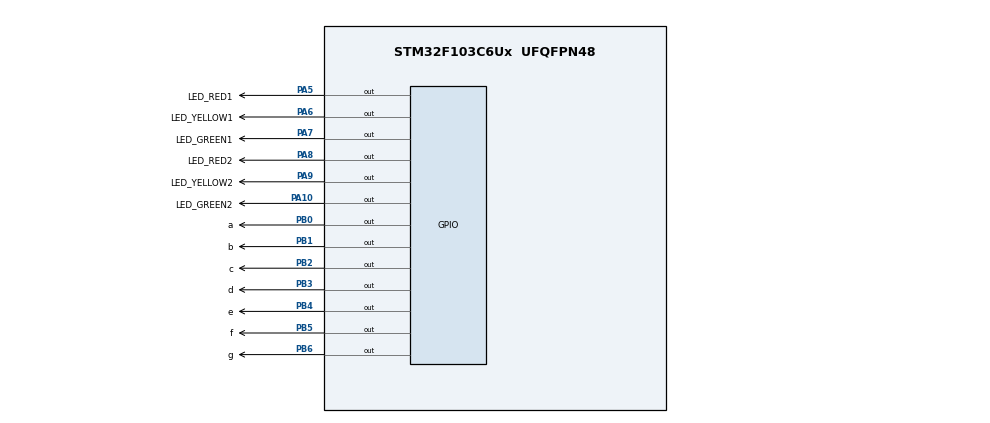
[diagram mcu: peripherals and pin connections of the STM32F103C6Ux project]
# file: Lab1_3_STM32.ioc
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Mcu.Family=STM32F1
Mcu.Name=STM32F103C6Ux
Mcu.Package=UFQFPN48
NVIC.PriorityGroup=NVIC_PRIORITYGROUP_4
PA10.GPIO_Label=LED_GREEN2
PA10.Signal=GPIO_Output
PA5.GPIO_Label=LED_RED1
PA5.Signal=GPIO_Output
PA6.GPIO_Label=LED_YELLOW1
PA6.Signal=GPIO_Output
PA7.GPIO_Label=LED_GREEN1
PA7.Signal=GPIO_Output
PA8.GPIO_Label=LED_RED2
PA8.Signal=GPIO_Output
PA9.GPIO_Label=LED_YELLOW2
PA9.Signal=GPIO_Output
PB0.GPIO_Label=a
PB0.Signal=GPIO_Output
PB1.GPIO_Label=b
PB1.Signal=GPIO_Output
PB2.GPIO_Label=c
PB2.Signal=GPIO_Output
PB3.GPIO_Label=d
PB3.Signal=GPIO_Output
PB4.GPIO_Label=e
PB4.Signal=GPIO_Output
PB5.GPIO_Label=f
PB5.Signal=GPIO_Output
PB6.GPIO_Label=g
PB6.Signal=GPIO_Output
ProjectManager.HeapSize=0x200
ProjectManager.StackSize=0x400
ProjectManager.TargetToolchain=STM32CubeIDE
RCC.APB1Freq_Value=8000000
RCC.APB2Freq_Value=8000000
VP_SYS_VS_ND.Mode=No_Debug
board=custom

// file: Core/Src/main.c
/* USER CODE BEGIN Header */
// This exercise include 3, 4, 5
/**
  ******************************************************************************
  * @file           : main.c
  * @brief          : Main program body
  ******************************************************************************
  * @attention
  *
  * <h2><center>&copy; Copyright (c) 2023 STMicroelectronics.
  * All rights reserved.</center></h2>
  *
  * This software component is licensed by ST under BSD 3-Clause license,
  * the "License"; You may not use this file except in compliance with the
  * License. You may obtain a copy of the License at:
  *                        opensource.org/licenses/BSD-3-Clause
  *
  ******************************************************************************
  */
/* USER CODE END Header */
#include "main.h"

void SystemClock_Config(void);
static void MX_GPIO_Init(void);

/* USER CODE BEGIN 0 */

void display7SEG(int *num)
{
	if(*num == 0)
	{
		HAL_GPIO_WritePin(a_GPIO_Port, a_Pin, RESET);
		HAL_GPIO_WritePin(b_GPIO_Port, b_Pin, RESET);
		HAL_GPIO_WritePin(c_GPIO_Port, c_Pin, RESET);
		HAL_GPIO_WritePin(d_GPIO_Port, d_Pin, RESET);
		HAL_GPIO_WritePin(e_GPIO_Port, e_Pin, RESET);
		HAL_GPIO_WritePin(f_GPIO_Port, f_Pin, RESET);
		HAL_GPIO_WritePin(g_GPIO_Port, g_Pin, SET);
	}
	else if(*num == 1)
	{
		HAL_GPIO_WritePin(a_GPIO_Port, a_Pin, SET);
		HAL_GPIO_WritePin(b_GPIO_Port, b_Pin, RESET);
		HAL_GPIO_WritePin(c_GPIO_Port, c_Pin, RESET);
		HAL_GPIO_WritePin(d_GPIO_Port, d_Pin, SET);
		HAL_GPIO_WritePin(e_GPIO_Port, e_Pin, SET);
		HAL_GPIO_WritePin(f_GPIO_Port, f_Pin, SET);
		HAL_GPIO_WritePin(g_GPIO_Port, g_Pin, SET);
	}
	else if(*num == 2)
	{
		HAL_GPIO_WritePin(a_GPIO_Port, a_Pin, RESET);
		HAL_GPIO_WritePin(b_GPIO_Port, b_Pin, RESET);
		HAL_GPIO_WritePin(c_GPIO_Port, c_Pin, SET);
		HAL_GPIO_WritePin(d_GPIO_Port, d_Pin, RESET);
		HAL_GPIO_WritePin(e_GPIO_Port, e_Pin, RESET);
		HAL_GPIO_WritePin(f_GPIO_Port, f_Pin, SET);
		HAL_GPIO_WritePin(g_GPIO_Port, g_Pin, RESET);
	}
	else if(*num == 3)
	{
		HAL_GPIO_WritePin(a_GPIO_Port, a_Pin, RESET);
		HAL_GPIO_WritePin(b_GPIO_Port, b_Pin, RESET);
		HAL_GPIO_WritePin(c_GPIO_Port, c_Pin, RESET);
		HAL_GPIO_WritePin(d_GPIO_Port, d_Pin, RESET);
		HAL_GPIO_WritePin(e_GPIO_Port, e_Pin, SET);
		HAL_GPIO_WritePin(f_GPIO_Port, f_Pin, SET);
		HAL_GPIO_WritePin(g_GPIO_Port, g_Pin, RESET);
	}
	else if(*num == 4)
	{
		HAL_GPIO_WritePin(a_GPIO_Port, a_Pin, SET);
		HAL_GPIO_WritePin(b_GPIO_Port, b_Pin, RESET);
		HAL_GPIO_WritePin(c_GPIO_Port, c_Pin, RESET);
		HAL_GPIO_WritePin(d_GPIO_Port, d_Pin, SET);
		HAL_GPIO_WritePin(e_GPIO_Port, e_Pin, SET);
		HAL_GPIO_WritePin(f_GPIO_Port, f_Pin, RESET);
		HAL_GPIO_WritePin(g_GPIO_Port, g_Pin, RESET);
	}
	else if(*num == 5)
	{
		HAL_GPIO_WritePin(a_GPIO_Port, a_Pin, RESET);
		HAL_GPIO_WritePin(b_GPIO_Port, b_Pin, SET);
		HAL_GPIO_WritePin(c_GPIO_Port, c_Pin, RESET);
		HAL_GPIO_WritePin(d_GPIO_Port, d_Pin, RESET);
		HAL_GPIO_WritePin(e_GPIO_Port, e_Pin, SET);
		HAL_GPIO_WritePin(f_GPIO_Port, f_Pin, RESET);
		HAL_GPIO_WritePin(g_GPIO_Port, g_Pin, RESET);
	}
	else if(*num == 6)
	{
		HAL_GPIO_WritePin(a_GPIO_Port, a_Pin, RESET);
		HAL_GPIO_WritePin(b_GPIO_Port, b_Pin, SET);
		HAL_GPIO_WritePin(c_GPIO_Port, c_Pin, RESET);
		HAL_GPIO_WritePin(d_GPIO_Port, d_Pin, RESET);
		HAL_GPIO_WritePin(e_GPIO_Port, e_Pin, RESET);
		HAL_GPIO_WritePin(f_GPIO_Port, f_Pin, RESET);
		HAL_GPIO_WritePin(g_GPIO_Port, g_Pin, RESET);
	}
	else if(*num == 7)
	{
		HAL_GPIO_WritePin(a_GPIO_Port, a_Pin, RESET);
		HAL_GPIO_WritePin(b_GPIO_Port, b_Pin, RESET);
		HAL_GPIO_WritePin(c_GPIO_Port, c_Pin, RESET);
		HAL_GPIO_WritePin(d_GPIO_Port, d_Pin, SET);
		HAL_GPIO_WritePin(e_GPIO_Port, e_Pin, SET);
		HAL_GPIO_WritePin(f_GPIO_Port, f_Pin, SET);
		HAL_GPIO_WritePin(g_GPIO_Port, g_Pin, SET);
	}
	else if(*num == 8)
	{
		HAL_GPIO_WritePin(a_GPIO_Port, a_Pin, RESET);
		HAL_GPIO_WritePin(b_GPIO_Port, b_Pin, RESET);
		HAL_GPIO_WritePin(c_GPIO_Port, c_Pin, RESET);
		HAL_GPIO_WritePin(d_GPIO_Port, d_Pin, RESET);
		HAL_GPIO_WritePin(e_GPIO_Port, e_Pin, RESET);
		HAL_GPIO_WritePin(f_GPIO_Port, f_Pin, RESET);
		HAL_GPIO_WritePin(g_GPIO_Port, g_Pin, RESET);
	}
	else if(*num == 9)
	{
		HAL_GPIO_WritePin(a_GPIO_Port, a_Pin, RESET);
		HAL_GPIO_WritePin(b_GPIO_Port, b_Pin, RESET);
		HAL_GPIO_WritePin(c_GPIO_Port, c_Pin, RESET);
		HAL_GPIO_WritePin(d_GPIO_Port, d_Pin, RESET);
		HAL_GPIO_WritePin(e_GPIO_Port, e_Pin, SET);
		HAL_GPIO_WritePin(f_GPIO_Port, f_Pin, RESET);
		HAL_GPIO_WritePin(g_GPIO_Port, g_Pin, RESET);
	}
}

/* USER CODE END 0 */

int main(void)
{

  /* MCU Configuration--------------------------------------------------------*/

  /* Reset of all peripherals, Initializes the Flash interface and the Systick. */
  HAL_Init();

  /* Configure the system clock */
  SystemClock_Config();

  /* Initialize all configured peripherals */
  MX_GPIO_Init();

  /* Infinite loop */
  /* USER CODE BEGIN WHILE */

  HAL_GPIO_WritePin(LED_RED1_GPIO_Port, LED_RED1_Pin, SET);
  HAL_GPIO_WritePin(LED_YELLOW1_GPIO_Port, LED_YELLOW1_Pin, SET);
  HAL_GPIO_WritePin(LED_GREEN1_GPIO_Port, LED_GREEN1_Pin, SET);
  HAL_GPIO_WritePin(LED_RED2_GPIO_Port, LED_RED2_Pin, SET);
  HAL_GPIO_WritePin(LED_YELLOW2_GPIO_Port, LED_YELLOW2_Pin, SET);
  HAL_GPIO_WritePin(LED_GREEN2_GPIO_Port, LED_GREEN2_Pin, SET);

  HAL_GPIO_WritePin(a_GPIO_Port, a_Pin, SET);
  HAL_GPIO_WritePin(b_GPIO_Port, b_Pin, SET);
  HAL_GPIO_WritePin(c_GPIO_Port, c_Pin, SET);
  HAL_GPIO_WritePin(d_GPIO_Port, d_Pin, SET);
  HAL_GPIO_WritePin(e_GPIO_Port, e_Pin, SET);
  HAL_GPIO_WritePin(f_GPIO_Port, f_Pin, SET);
  HAL_GPIO_WritePin(g_GPIO_Port, g_Pin, SET);

  int state = 1;
  int counter = 9;
  while (1)
  {
	  if(counter <= 0)
	  {
		  counter = 9;
	  }
	  switch (state)
	  {
		  case 1:
			  HAL_GPIO_WritePin(LED_RED1_GPIO_Port, LED_RED1_Pin, RESET);
			  HAL_GPIO_WritePin(LED_GREEN2_GPIO_Port, LED_GREEN2_Pin, RESET);
			  for(int i = 5; i >=3; i--)
			  {
				  display7SEG(&counter);
				  counter--;
				  HAL_Delay(1000);
			  }
			  HAL_GPIO_WritePin(LED_GREEN2_GPIO_Port, LED_GREEN2_Pin, SET);
			  state = 2;
			  break;
		  case 2:
			  HAL_GPIO_WritePin(LED_YELLOW2_GPIO_Port, LED_YELLOW2_Pin, RESET);
			  for(int i = 2; i >=1; i--)
			  {
				  display7SEG(&counter);
				  counter--;
				  HAL_Delay(1000);
			  }
			  HAL_GPIO_WritePin(LED_YELLOW2_GPIO_Port, LED_YELLOW2_Pin, SET);
			  HAL_GPIO_WritePin(LED_RED1_GPIO_Port, LED_RED1_Pin, SET);
			  state = 3;
			  break;
		  case 3:
			  HAL_GPIO_WritePin(LED_RED2_GPIO_Port, LED_RED2_Pin, RESET);
			  HAL_GPIO_WritePin(LED_GREEN1_GPIO_Port, LED_GREEN1_Pin, RESET);
			  for(int i = 5; i >= 3; i--)
			  {
				  display7SEG(&counter);
				  counter--;
				  HAL_Delay(1000);
			  }
			  HAL_GPIO_WritePin(LED_GREEN1_GPIO_Port, LED_GREEN1_Pin, SET);
			  state = 4;
		  case 4:
			  HAL_GPIO_WritePin(LED_YELLOW1_GPIO_Port, LED_YELLOW1_Pin, RESET);
			  for(int i = 2; i >= 1; i--)
			  {
				  display7SEG(&counter);
				  counter--;
				  HAL_Delay(1000);
			  }
			  HAL_GPIO_WritePin(LED_YELLOW1_GPIO_Port, LED_YELLOW1_Pin, SET);
			  HAL_GPIO_WritePin(LED_RED2_GPIO_Port, LED_RED2_Pin, SET);
			  state = 1;
			  break;
	  }

    /* USER CODE END WHILE */

  }
}

void SystemClock_Config(void)
{
  RCC_OscInitTypeDef RCC_OscInitStruct = {0};
  RCC_ClkInitTypeDef RCC_ClkInitStruct = {0};

  /** Initializes the RCC Oscillators according to the specified parameters
  * in the RCC_OscInitTypeDef structure.
  */
  RCC_OscInitStruct.OscillatorType = RCC_OSCILLATORTYPE_HSI;
  RCC_OscInitStruct.HSIState = RCC_HSI_ON;
  RCC_OscInitStruct.HSICalibrationValue = RCC_HSICALIBRATION_DEFAULT;
  RCC_OscInitStruct.PLL.PLLState = RCC_PLL_NONE;
  if (HAL_RCC_OscConfig(&RCC_OscInitStruct) != HAL_OK)
  {
    Error_Handler();
  }
  /** Initializes the CPU, AHB and APB buses clocks
  */
  RCC_ClkInitStruct.ClockType = RCC_CLOCKTYPE_HCLK|RCC_CLOCKTYPE_SYSCLK
                              |RCC_CLOCKTYPE_PCLK1|RCC_CLOCKTYPE_PCLK2;
  RCC_ClkInitStruct.SYSCLKSource = RCC_SYSCLKSOURCE_HSI;
  RCC_ClkInitStruct.AHBCLKDivider = RCC_SYSCLK_DIV1;
  RCC_ClkInitStruct.APB1CLKDivider = RCC_HCLK_DIV1;
  RCC_ClkInitStruct.APB2CLKDivider = RCC_HCLK_DIV1;

  if (HAL_RCC_ClockConfig(&RCC_ClkInitStruct, FLASH_LATENCY_0) != HAL_OK)
  {
    Error_Handler();
  }
}

static void MX_GPIO_Init(void)
{
  GPIO_InitTypeDef GPIO_InitStruct = {0};

  /* GPIO Ports Clock Enable */
  __HAL_RCC_GPIOA_CLK_ENABLE();
  __HAL_RCC_GPIOB_CLK_ENABLE();

  /*Configure GPIO pin Output Level */
  HAL_GPIO_WritePin(GPIOA, LED_RED1_Pin|LED_YELLOW1_Pin|LED_GREEN1_Pin|LED_RED2_Pin
                          |LED_YELLOW2_Pin|LED_GREEN2_Pin, GPIO_PIN_RESET);

  /*Configure GPIO pin Output Level */
  HAL_GPIO_WritePin(GPIOB, a_Pin|b_Pin|c_Pin|d_Pin
                          |e_Pin|f_Pin|g_Pin, GPIO_PIN_RESET);

  /*Configure GPIO pins : LED_RED1_Pin LED_YELLOW1_Pin LED_GREEN1_Pin LED_RED2_Pin
                           LED_YELLOW2_Pin LED_GREEN2_Pin */
  GPIO_InitStruct.Pin = LED_RED1_Pin|LED_YELLOW1_Pin|LED_GREEN1_Pin|LED_RED2_Pin
                          |LED_YELLOW2_Pin|LED_GREEN2_Pin;
  GPIO_InitStruct.Mode = GPIO_MODE_OUTPUT_PP;
  GPIO_InitStruct.Pull = GPIO_NOPULL;
  GPIO_InitStruct.Speed = GPIO_SPEED_FREQ_LOW;
  HAL_GPIO_Init(GPIOA, &GPIO_InitStruct);

  /*Configure GPIO pins : a_Pin b_Pin c_Pin d_Pin
                           e_Pin f_Pin g_Pin */
  GPIO_InitStruct.Pin = a_Pin|b_Pin|c_Pin|d_Pin
                          |e_Pin|f_Pin|g_Pin;
  GPIO_InitStruct.Mode = GPIO_MODE_OUTPUT_PP;
  GPIO_InitStruct.Pull = GPIO_NOPULL;
  GPIO_InitStruct.Speed = GPIO_SPEED_FREQ_LOW;
  HAL_GPIO_Init(GPIOB, &GPIO_InitStruct);

}

void Error_Handler(void)
{
  __disable_irq();
  while (1)
  {
  }
}

/************************ (C) COPYRIGHT STMicroelectronics *****END OF FILE****/
